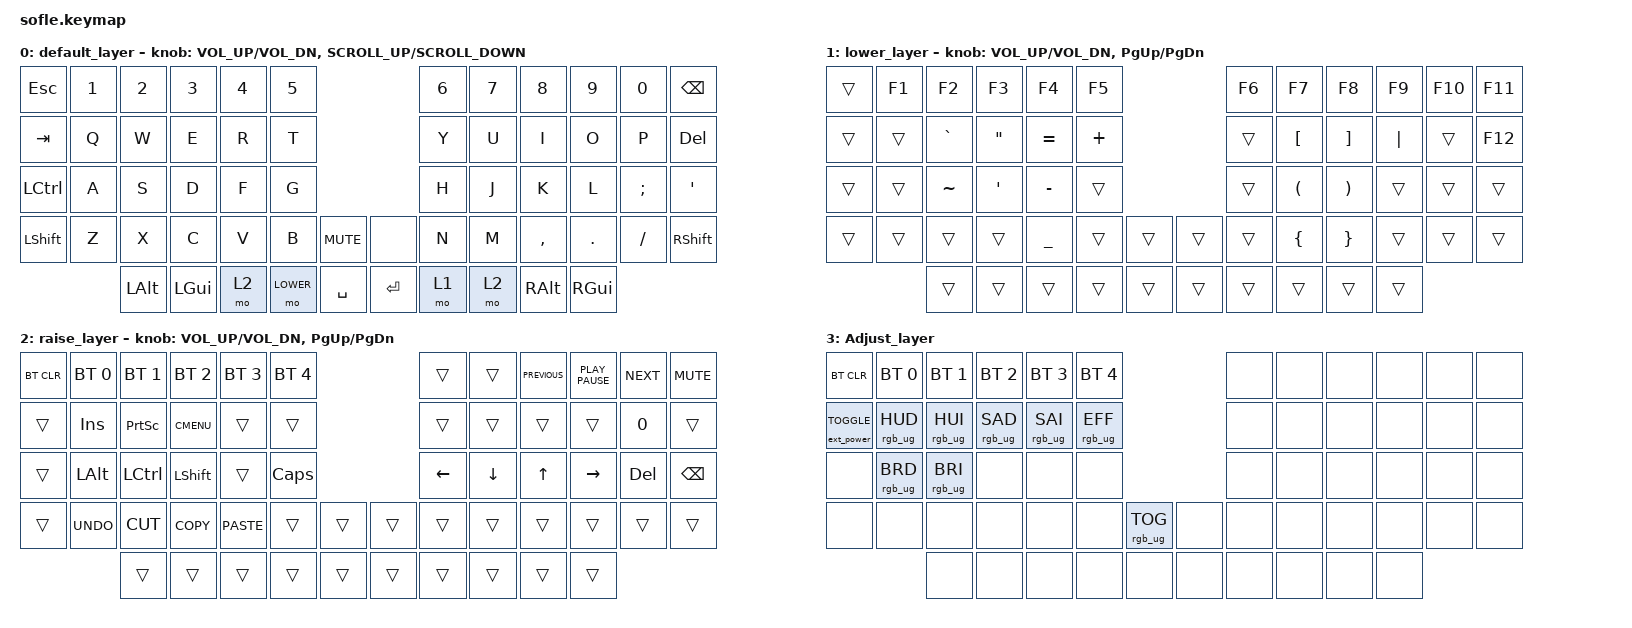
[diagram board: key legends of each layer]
/*
 * Copyright (c) 2020 The ZMK Contributors
 *
 * SPDX-License-Identifier: MIT
 */

#include <behaviors.dtsi>
#include <dt-bindings/zmk/bt.h>
#include <dt-bindings/zmk/ext_power.h>
#include <dt-bindings/zmk/keys.h>
#include <dt-bindings/zmk/rgb.h>

#define BASE 0
#define LOWER 1
#define RAISE 2
#define ADJUST 3

/ {
    // Activate ADJUST layer by pressing raise and lower

    conditional_layers {
        compatible = "zmk,conditional-layers";

        adjust_layer {
            if-layers = <LOWER RAISE>;
            then-layer = <ADJUST>;
        };
    };

    keymap {
        compatible = "zmk,keymap";

        default_layer {
            // ------------------------------------------------------------------------------------------------------------
            // |  `    |  1  |  2  |  3   |  4   |  5   |                   |  6   |  7    |  8    |  9   |   0   |       |
            // |  ESC  |  Q  |  W  |  E   |  R   |  T   |                   |  Y   |  U    |  I    |  O   |   P   | BKSPC |
            // |  TAB  |  A  |  S  |  D   |  F   |  G   |                   |  H   |  J    |  K    |  L   |   ;   |   '   |
            // | SHIFT |  Z  |  X  |  C   |  V   |  B   |  MUTE  |  |       |  N   |  M    |  ,    |  .   |   /   | SHIFT |
            //               | GUI | ALT  | CTRL | LOWER|  ENTER |  | SPACE | RAISE| CTRL  | ALT   | GUI  |

            bindings = <
&kp ESCAPE  &kp N1  &kp N2    &kp N3        &kp N4  &kp N5                              &kp N6  &kp N7  &kp N8     &kp N9    &kp N0    &kp BACKSPACE
&kp TAB     &kp Q   &kp W     &kp E         &kp R   &kp T                               &kp Y   &kp U   &kp I      &kp O     &kp P     &kp DELETE
&kp LCTRL   &kp A   &kp S     &kp D         &kp F   &kp G                               &kp H   &kp J   &kp K      &kp L     &kp SEMI  &kp SQT
&kp LSHFT   &kp Z   &kp X     &kp C         &kp V   &kp B      &kp C_MUTE    &none      &kp N   &kp M   &kp COMMA  &kp DOT   &kp FSLH  &kp RSHFT
                    &kp LALT  &kp LEFT_GUI  &mo 2   &mo LOWER  &kp SPACE     &kp ENTER  &mo 1   &mo 2   &kp RALT   &kp RGUI
            >;

            sensor-bindings =
                <&inc_dec_kp C_VOL_UP C_VOL_DN>,
                <&inc_dec_kp K_SCROLL_UP K_SCROLL_DOWN>;
        };

        lower_layer {
            // TODO: Some binds are waiting for shifted keycode support.
            // ------------------------------------------------------------------------------------------------------------
            // |       |  F1 |  F2 |  F3  |  F4  |  F5  |                   |  F6  |  F7   |  F8   |  F9  |  F10  |  F11  |
            // | `     |   1 |   2 |   3  |   4  |   5  |                   |   6  |   7   |   8   |   9  |    0  |  F12  |
            // |       |  !  |  @  |  #   |  $   |  %   |                   |  ^   |  &    |  *    |  (   |   )   |   |   |
            // |       |  =  |  -  |  +   |  {   |  }   |        |  |       |  [   |  ]    |  ;    |  :   |   \   |       |
            //               |     |      |      |      |        |  |       |      |       |       |      |

            bindings = <
&trans  &kp F1  &kp F2     &kp F3             &kp F4          &kp F5                      &kp F6  &kp F7                &kp F8                 &kp F9    &kp F10  &kp F11
&trans  &trans  &kp GRAVE  &kp DOUBLE_QUOTES  &kp EQUAL       &kp PLUS                    &trans  &kp LEFT_BRACKET      &kp RIGHT_BRACKET      &kp PIPE  &trans   &kp F12
&trans  &trans  &kp TILDE  &kp SQT            &kp MINUS       &trans                      &trans  &kp LEFT_PARENTHESIS  &kp RIGHT_PARENTHESIS  &trans    &trans   &trans
&trans  &trans  &trans     &trans             &kp UNDERSCORE  &trans    &trans    &trans  &trans  &kp LEFT_BRACE        &kp RIGHT_BRACE        &trans    &trans   &trans
                &trans     &trans             &trans          &trans    &trans    &trans  &trans  &trans                &trans                 &trans
            >;

            sensor-bindings = <&inc_dec_kp C_VOL_UP C_VOL_DN &inc_dec_kp PG_UP PG_DN>;
        };

        raise_layer {
            // ------------------------------------------------------------------------------------------------------------
            // |BTCLR| BT1  | BT2  |  BT3  |  BT4  |  BT5 |                |      |      |       |      |       |       |
            // |     | INS  | PSCR | GUI   |       |      |                | PGUP |      |   ^   |      |       |       |
            // |     | ALT  | CTRL | SHIFT |       | CAPS |                | PGDN |   <- |   v   |  ->  |  DEL  | BKSPC |
            // |     | UNDO | CUT  | COPY  | PASTE |      |      |  |      |      |      |       |      |       |       |
            //              |      |       |       |      |      |  |      |      |      |       |      |

            bindings = <
&bt BT_CLR  &bt BT_SEL 0  &bt BT_SEL 1  &bt BT_SEL 2  &bt BT_SEL 3  &bt BT_SEL 4                    &trans          &trans          &kp K_PREVIOUS  &kp K_PLAY_PAUSE  &kp K_NEXT  &kp K_MUTE
&trans      &kp INS       &kp PSCRN     &kp K_CMENU   &trans        &trans                          &trans          &trans          &trans          &trans            &kp N0      &trans
&trans      &kp LALT      &kp LCTRL     &kp LSHFT     &trans        &kp CLCK                        &kp LEFT_ARROW  &kp DOWN_ARROW  &kp UP_ARROW    &kp RIGHT         &kp DEL     &kp BSPC
&trans      &kp K_UNDO    &kp K_CUT     &kp K_COPY    &kp K_PASTE   &trans        &trans    &trans  &trans          &trans          &trans          &trans            &trans      &trans
                          &trans        &trans        &trans        &trans        &trans    &trans  &trans          &trans          &trans          &trans
            >;

            sensor-bindings = <&inc_dec_kp C_VOL_UP C_VOL_DN &inc_dec_kp PG_UP PG_DN>;
        };

        // ------------------------------------------------------------------------------------------------------------
        // |BTCLR | BT1   | BT2   |  BT3  |  BT4  |  BT5  |                |      |      |       |      |       |       |
        // |EXTPWR|RGB_HUD|RGB_HUI|RGB_SAD|RGB_SAI|RGB_EFF|                |      |      |       |      |       |       |
        // |      |RGB_BRD|RGB_BRI|       |       |       |                |      |      |       |      |       |       |
        // |      |       |       |       |       |       |RGB_TOG| |      |      |      |       |      |       |       |
        //                |       |       |       |       |       | |      |      |      |       |      |

        Adjust_layer {
            bindings = <
&bt BT_CLR                       &bt BT_SEL 0     &bt BT_SEL 1     &bt BT_SEL 2     &bt BT_SEL 3     &bt BT_SEL 4                               &none  &none  &none  &none  &none  &none
&ext_power EXT_POWER_TOGGLE_CMD  &rgb_ug RGB_HUD  &rgb_ug RGB_HUI  &rgb_ug RGB_SAD  &rgb_ug RGB_SAI  &rgb_ug RGB_EFF                            &none  &none  &none  &none  &none  &none
&none                            &rgb_ug RGB_BRD  &rgb_ug RGB_BRI  &none            &none            &none                                      &none  &none  &none  &none  &none  &none
&none                            &none            &none            &none            &none            &none            &rgb_ug RGB_TOG    &none  &none  &none  &none  &none  &none  &none
                                                  &none            &none            &none            &none            &none              &none  &none  &none  &none  &none
            >;
        };
    };
};
